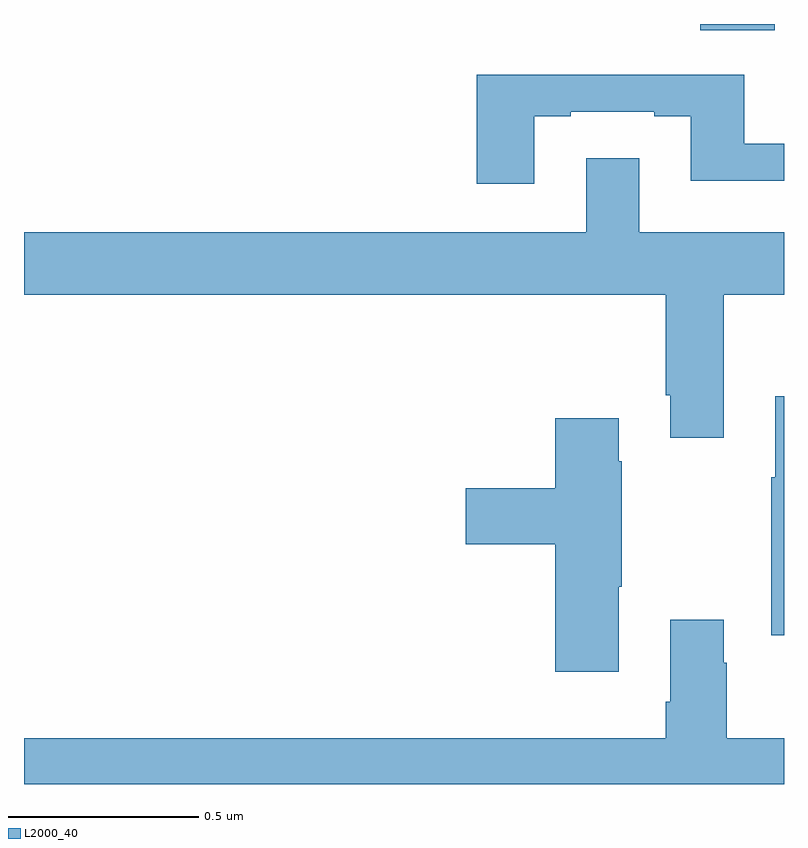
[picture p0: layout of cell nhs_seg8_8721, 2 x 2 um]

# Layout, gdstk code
import gdstk
lib = gdstk.Library(unit=1e-6, precision=1e-09)
def R(c, l, rs):  # rectangles x0, y0, x1, y1
    for r in rs: c.add(gdstk.rectangle(r[:2], r[2:], *l))
def P(c, l, *ps):  # polygons
    for p in ps: c.add(gdstk.Polygon(p, *l))
L2000_40 = (2000, 40)

nhs_seg8_8721 = lib.new_cell('nhs_seg8_8721')
R(nhs_seg8_8721, L2000_40, [(228.779,1095.884,228.976,1095.9)])
P(nhs_seg8_8721, L2000_40, [(228.343,1095.657),(228.439,1095.657),(228.439,1095.669),(228.659,1095.669),(228.659,1095.657),(228.755,1095.657),(228.755,1095.488),(229,1095.488),(229,1095.585),(228.895,1095.585),(228.895,1095.766),(228.191,1095.766),(228.191,1095.48),(228.343,1095.48)],
  [(228.841,1095.188),(229,1095.188),(229,1095.352),(228.619,1095.352),(228.619,1095.547),(228.479,1095.547),(228.479,1095.352),(227,1095.352),(227,1095.188),(228.689,1095.188),(228.689,1094.923),(228.701,1094.923),(228.701,1094.811),(228.841,1094.811)],
  [(229,1094.92),(228.977,1094.92),(228.977,1094.707),(228.966,1094.707),(228.966,1094.291),(229,1094.291)],
  [(228.565,1094.419),(228.573,1094.419),(228.573,1094.75),(228.565,1094.75),(228.565,1094.863),(228.398,1094.863),(228.398,1094.678),(228.162,1094.678),(228.162,1094.531),(228.398,1094.531),(228.398,1094.196),(228.565,1094.196)],
  [(229,1094.02),(228.849,1094.02),(228.849,1094.219),(228.841,1094.219),(228.841,1094.332),(228.701,1094.332),(228.701,1094.116),(228.689,1094.116),(228.689,1094.02),(227,1094.02),(227,1093.9),(229,1093.9)])

lib.write_gds('nhs_seg8_8721.gds')
